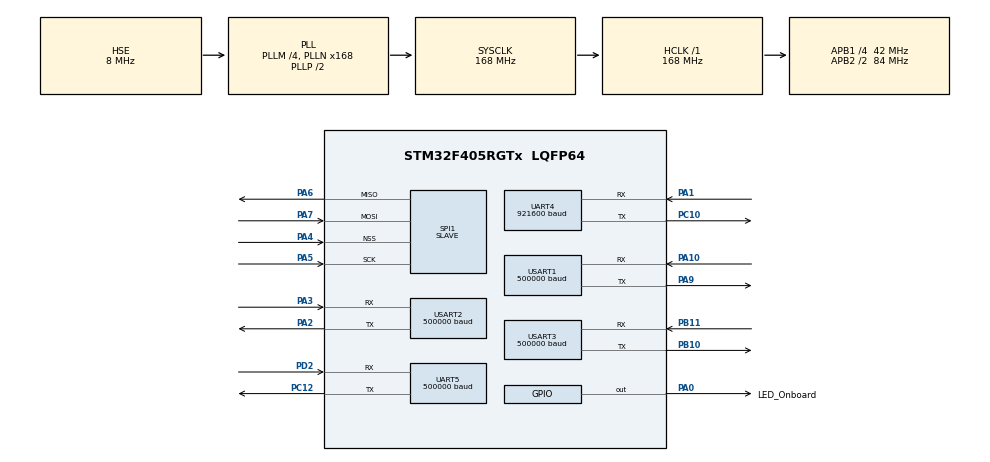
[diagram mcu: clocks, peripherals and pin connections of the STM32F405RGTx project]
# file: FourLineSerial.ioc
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Dma.Request0=USART1_RX
Dma.Request1=USART2_RX
Dma.Request10=UART5_RX
Dma.Request11=UART5_TX
Dma.Request2=USART3_RX
Dma.Request3=USART1_TX
Dma.Request4=USART2_TX
Dma.Request5=USART3_TX
Dma.Request6=SPI1_RX
Dma.Request7=SPI1_TX
Dma.Request8=UART4_RX
Dma.Request9=UART4_TX
Dma.SPI1_RX.6.Direction=DMA_PERIPH_TO_MEMORY
Dma.SPI1_RX.6.FIFOMode=DMA_FIFOMODE_DISABLE
Dma.SPI1_RX.6.Instance=DMA2_Stream0
Dma.SPI1_RX.6.MemDataAlignment=DMA_MDATAALIGN_BYTE
Dma.SPI1_RX.6.MemInc=DMA_MINC_ENABLE
Dma.SPI1_RX.6.Mode=DMA_CIRCULAR
Dma.SPI1_RX.6.PeriphDataAlignment=DMA_PDATAALIGN_BYTE
Dma.SPI1_RX.6.PeriphInc=DMA_PINC_DISABLE
Dma.SPI1_RX.6.Priority=DMA_PRIORITY_LOW
Dma.SPI1_TX.7.Direction=DMA_MEMORY_TO_PERIPH
Dma.SPI1_TX.7.FIFOMode=DMA_FIFOMODE_DISABLE
Dma.SPI1_TX.7.Instance=DMA2_Stream3
Dma.SPI1_TX.7.MemDataAlignment=DMA_MDATAALIGN_BYTE
Dma.SPI1_TX.7.MemInc=DMA_MINC_ENABLE
Dma.SPI1_TX.7.Mode=DMA_CIRCULAR
Dma.SPI1_TX.7.PeriphDataAlignment=DMA_PDATAALIGN_BYTE
Dma.SPI1_TX.7.PeriphInc=DMA_PINC_DISABLE
Dma.SPI1_TX.7.Priority=DMA_PRIORITY_LOW
Dma.UART4_RX.8.Direction=DMA_PERIPH_TO_MEMORY
Dma.UART4_RX.8.FIFOMode=DMA_FIFOMODE_DISABLE
Dma.UART4_RX.8.Instance=DMA1_Stream2
Dma.UART4_RX.8.MemDataAlignment=DMA_MDATAALIGN_BYTE
Dma.UART4_RX.8.MemInc=DMA_MINC_ENABLE
Dma.UART4_RX.8.Mode=DMA_NORMAL
Dma.UART4_RX.8.PeriphDataAlignment=DMA_PDATAALIGN_BYTE
Dma.UART4_RX.8.PeriphInc=DMA_PINC_DISABLE
Dma.UART4_RX.8.Priority=DMA_PRIORITY_LOW
Dma.UART4_TX.9.Direction=DMA_MEMORY_TO_PERIPH
Dma.UART4_TX.9.FIFOMode=DMA_FIFOMODE_DISABLE
Dma.UART4_TX.9.Instance=DMA1_Stream4
Dma.UART4_TX.9.MemDataAlignment=DMA_MDATAALIGN_BYTE
Dma.UART4_TX.9.MemInc=DMA_MINC_ENABLE
Dma.UART4_TX.9.Mode=DMA_NORMAL
Dma.UART4_TX.9.PeriphDataAlignment=DMA_PDATAALIGN_BYTE
Dma.UART4_TX.9.PeriphInc=DMA_PINC_DISABLE
Dma.UART4_TX.9.Priority=DMA_PRIORITY_LOW
Dma.UART5_RX.10.Direction=DMA_PERIPH_TO_MEMORY
Dma.UART5_RX.10.FIFOMode=DMA_FIFOMODE_DISABLE
Dma.UART5_RX.10.Instance=DMA1_Stream0
Dma.UART5_RX.10.MemDataAlignment=DMA_MDATAALIGN_BYTE
Dma.UART5_RX.10.MemInc=DMA_MINC_ENABLE
Dma.UART5_RX.10.Mode=DMA_CIRCULAR
Dma.UART5_RX.10.PeriphDataAlignment=DMA_PDATAALIGN_BYTE
Dma.UART5_RX.10.PeriphInc=DMA_PINC_DISABLE
Dma.UART5_RX.10.Priority=DMA_PRIORITY_LOW
Dma.UART5_TX.11.Direction=DMA_MEMORY_TO_PERIPH
Dma.UART5_TX.11.FIFOMode=DMA_FIFOMODE_DISABLE
Dma.UART5_TX.11.Instance=DMA1_Stream7
Dma.UART5_TX.11.MemDataAlignment=DMA_MDATAALIGN_BYTE
Dma.UART5_TX.11.MemInc=DMA_MINC_ENABLE
Dma.UART5_TX.11.Mode=DMA_NORMAL
Dma.UART5_TX.11.PeriphDataAlignment=DMA_PDATAALIGN_BYTE
Dma.UART5_TX.11.PeriphInc=DMA_PINC_DISABLE
Dma.UART5_TX.11.Priority=DMA_PRIORITY_LOW
Dma.USART1_RX.0.Direction=DMA_PERIPH_TO_MEMORY
Dma.USART1_RX.0.FIFOMode=DMA_FIFOMODE_DISABLE
Dma.USART1_RX.0.Instance=DMA2_Stream5
Dma.USART1_RX.0.MemDataAlignment=DMA_MDATAALIGN_BYTE
Dma.USART1_RX.0.MemInc=DMA_MINC_ENABLE
Dma.USART1_RX.0.Mode=DMA_CIRCULAR
Dma.USART1_RX.0.PeriphDataAlignment=DMA_PDATAALIGN_BYTE
Dma.USART1_RX.0.PeriphInc=DMA_PINC_DISABLE
Dma.USART1_RX.0.Priority=DMA_PRIORITY_LOW
Dma.USART1_TX.3.Direction=DMA_MEMORY_TO_PERIPH
Dma.USART1_TX.3.FIFOMode=DMA_FIFOMODE_DISABLE
Dma.USART1_TX.3.Instance=DMA2_Stream7
Dma.USART1_TX.3.MemDataAlignment=DMA_MDATAALIGN_BYTE
Dma.USART1_TX.3.MemInc=DMA_MINC_ENABLE
Dma.USART1_TX.3.Mode=DMA_NORMAL
Dma.USART1_TX.3.PeriphDataAlignment=DMA_PDATAALIGN_BYTE
Dma.USART1_TX.3.PeriphInc=DMA_PINC_DISABLE
Dma.USART1_TX.3.Priority=DMA_PRIORITY_LOW
Dma.USART2_RX.1.Direction=DMA_PERIPH_TO_MEMORY
Dma.USART2_RX.1.FIFOMode=DMA_FIFOMODE_DISABLE
Dma.USART2_RX.1.Instance=DMA1_Stream5
Dma.USART2_RX.1.MemDataAlignment=DMA_MDATAALIGN_BYTE
Dma.USART2_RX.1.MemInc=DMA_MINC_ENABLE
Dma.USART2_RX.1.Mode=DMA_CIRCULAR
Dma.USART2_RX.1.PeriphDataAlignment=DMA_PDATAALIGN_BYTE
Dma.USART2_RX.1.PeriphInc=DMA_PINC_DISABLE
Dma.USART2_RX.1.Priority=DMA_PRIORITY_LOW
Dma.USART2_TX.4.Direction=DMA_MEMORY_TO_PERIPH
Dma.USART2_TX.4.FIFOMode=DMA_FIFOMODE_DISABLE
Dma.USART2_TX.4.Instance=DMA1_Stream6
Dma.USART2_TX.4.MemDataAlignment=DMA_MDATAALIGN_BYTE
Dma.USART2_TX.4.MemInc=DMA_MINC_ENABLE
Dma.USART2_TX.4.Mode=DMA_NORMAL
Dma.USART2_TX.4.PeriphDataAlignment=DMA_PDATAALIGN_BYTE
Dma.USART2_TX.4.PeriphInc=DMA_PINC_DISABLE
Dma.USART2_TX.4.Priority=DMA_PRIORITY_LOW
Dma.USART3_RX.2.Direction=DMA_PERIPH_TO_MEMORY
Dma.USART3_RX.2.FIFOMode=DMA_FIFOMODE_DISABLE
Dma.USART3_RX.2.Instance=DMA1_Stream1
Dma.USART3_RX.2.MemDataAlignment=DMA_MDATAALIGN_BYTE
Dma.USART3_RX.2.MemInc=DMA_MINC_ENABLE
Dma.USART3_RX.2.Mode=DMA_CIRCULAR
Dma.USART3_RX.2.PeriphDataAlignment=DMA_PDATAALIGN_BYTE
Dma.USART3_RX.2.PeriphInc=DMA_PINC_DISABLE
Dma.USART3_RX.2.Priority=DMA_PRIORITY_LOW
Dma.USART3_TX.5.Direction=DMA_MEMORY_TO_PERIPH
Dma.USART3_TX.5.FIFOMode=DMA_FIFOMODE_DISABLE
Dma.USART3_TX.5.Instance=DMA1_Stream3
Dma.USART3_TX.5.MemDataAlignment=DMA_MDATAALIGN_BYTE
Dma.USART3_TX.5.MemInc=DMA_MINC_ENABLE
Dma.USART3_TX.5.Mode=DMA_NORMAL
Dma.USART3_TX.5.PeriphDataAlignment=DMA_PDATAALIGN_BYTE
Dma.USART3_TX.5.PeriphInc=DMA_PINC_DISABLE
Dma.USART3_TX.5.Priority=DMA_PRIORITY_LOW
Mcu.Family=STM32F4
Mcu.Name=STM32F405RGTx
Mcu.Package=LQFP64
NVIC.DMA1_Stream0_IRQn=true\:0\:0\:false\:false\:true\:false\:true
NVIC.DMA1_Stream1_IRQn=true\:0\:0\:false\:false\:true\:false\:true
NVIC.DMA1_Stream2_IRQn=true\:0\:0\:false\:false\:true\:false\:true
NVIC.DMA1_Stream3_IRQn=true\:0\:0\:false\:false\:true\:false\:true
NVIC.DMA1_Stream4_IRQn=true\:0\:0\:false\:false\:true\:false\:true
NVIC.DMA1_Stream5_IRQn=true\:0\:0\:false\:false\:true\:false\:true
NVIC.DMA1_Stream6_IRQn=true\:0\:0\:false\:false\:true\:false\:true
NVIC.DMA1_Stream7_IRQn=true\:0\:0\:false\:false\:true\:false\:true
NVIC.DMA2_Stream0_IRQn=true\:0\:0\:false\:false\:true\:false\:true
NVIC.DMA2_Stream3_IRQn=true\:0\:0\:false\:false\:true\:false\:true
NVIC.DMA2_Stream5_IRQn=true\:0\:0\:false\:false\:true\:false\:true
NVIC.DMA2_Stream7_IRQn=true\:0\:0\:false\:false\:true\:false\:true
NVIC.PriorityGroup=NVIC_PRIORITYGROUP_4
NVIC.SPI1_IRQn=true\:0\:0\:false\:false\:true\:true\:true
NVIC.UART4_IRQn=true\:0\:0\:false\:false\:true\:true\:true
NVIC.UART5_IRQn=true\:0\:0\:false\:false\:true\:true\:true
NVIC.USART1_IRQn=true\:0\:0\:false\:false\:true\:true\:true
NVIC.USART2_IRQn=true\:0\:0\:false\:false\:true\:true\:true
NVIC.USART3_IRQn=true\:0\:0\:false\:false\:true\:true\:true
PA0-WKUP.GPIO_Label=LED_Onboard
PA0-WKUP.GPIO_PuPd=GPIO_PULLDOWN
PA0-WKUP.Signal=GPIO_Output
PA1.Mode=Asynchronous
PA1.Signal=UART4_RX
PA10.Mode=Asynchronous
PA10.Signal=USART1_RX
PA13.Mode=Serial_Wire
PA13.Signal=SYS_JTMS-SWDIO
PA14.Mode=Serial_Wire
PA14.Signal=SYS_JTCK-SWCLK
PA2.Mode=Asynchronous
PA2.Signal=USART2_TX
PA3.Mode=Asynchronous
PA3.Signal=USART2_RX
PA4.Mode=NSS_Signal_Hard_Input
PA4.Signal=SPI1_NSS
PA5.Mode=Full_Duplex_Slave
PA5.Signal=SPI1_SCK
PA6.Mode=Full_Duplex_Slave
PA6.Signal=SPI1_MISO
PA7.Mode=Full_Duplex_Slave
PA7.Signal=SPI1_MOSI
PA9.Mode=Asynchronous
PA9.Signal=USART1_TX
PB10.Mode=Asynchronous
PB10.Signal=USART3_TX
PB11.Mode=Asynchronous
PB11.Signal=USART3_RX
PC10.Mode=Asynchronous
PC10.Signal=UART4_TX
PC12.Mode=Asynchronous
PC12.Signal=UART5_TX
PC14-OSC32_IN.Mode=LSE-External-Oscillator
PC14-OSC32_IN.Signal=RCC_OSC32_IN
PC15-OSC32_OUT.Mode=LSE-External-Oscillator
PC15-OSC32_OUT.Signal=RCC_OSC32_OUT
PD2.Mode=Asynchronous
PD2.Signal=UART5_RX
PH0-OSC_IN.Mode=HSE-External-Oscillator
PH0-OSC_IN.Signal=RCC_OSC_IN
PH1-OSC_OUT.Mode=HSE-External-Oscillator
PH1-OSC_OUT.Signal=RCC_OSC_OUT
ProjectManager.HeapSize=0x200
ProjectManager.StackSize=0x400
ProjectManager.TargetToolchain=STM32CubeIDE
RCC.48MHZClocksFreq_Value=84000000
RCC.AHBFreq_Value=168000000
RCC.APB1CLKDivider=RCC_HCLK_DIV4
RCC.APB1Freq_Value=42000000
RCC.APB1TimFreq_Value=84000000
RCC.APB2CLKDivider=RCC_HCLK_DIV2
RCC.APB2Freq_Value=84000000
RCC.APB2TimFreq_Value=168000000
RCC.CortexFreq_Value=168000000
RCC.HCLKFreq_Value=168000000
RCC.HSE_VALUE=8000000
RCC.HSI_VALUE=16000000
RCC.PLLM=4
RCC.PLLN=168
RCC.PLLSourceVirtual=RCC_PLLSOURCE_HSE
RCC.SYSCLKFreq_VALUE=168000000
RCC.SYSCLKSource=RCC_SYSCLKSOURCE_PLLCLK
RCC.VCOOutputFreq_Value=336000000
SPI1.CLKPhase=SPI_PHASE_1EDGE
SPI1.CLKPolarity=SPI_POLARITY_LOW
SPI1.DataSize=SPI_DATASIZE_8BIT
SPI1.Direction=SPI_DIRECTION_2LINES
SPI1.Mode=SPI_MODE_SLAVE
SPI1.TIMode=SPI_TIMODE_DISABLE
SPI1.VirtualNSS=VM_NSSHARD
SPI1.VirtualType=VM_SLAVE
UART4.BaudRate=921600
UART4.OverSampling=UART_OVERSAMPLING_16
UART4.VirtualMode=Asynchronous
UART5.BaudRate=500000
UART5.VirtualMode=Asynchronous
USART1.BaudRate=500000
USART1.OverSampling=UART_OVERSAMPLING_16
USART1.VirtualMode=VM_ASYNC
USART2.BaudRate=500000
USART2.OverSampling=UART_OVERSAMPLING_16
USART2.VirtualMode=VM_ASYNC
USART3.BaudRate=500000
USART3.OverSampling=UART_OVERSAMPLING_16
USART3.VirtualMode=VM_ASYNC
board=custom

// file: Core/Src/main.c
/* USER CODE BEGIN Header */
/**
  ******************************************************************************
  * @file           : main.c
  * @brief          : Main program body
  ******************************************************************************
  * @attention
  *
  * <h2><center>&copy; Copyright (c) 2021 STMicroelectronics.
  * All rights reserved.</center></h2>
  *
  * This software component is licensed by ST under BSD 3-Clause license,
  * the "License"; You may not use this file except in compliance with the
  * License. You may obtain a copy of the License at:
  *                        opensource.org/licenses/BSD-3-Clause
  *
  ******************************************************************************
  */
/* USER CODE END Header */
#include "main.h"

/* USER CODE BEGIN Includes */
#include <stdint.h>
#include "Servo_Interpreter.h"
#include "raspi_Interpreter.h"
#include "JY901_Interpreter.h"
#include "CH100_Interpreter.h"
/* USER CODE END Includes */

SPI_HandleTypeDef hspi1;
DMA_HandleTypeDef hdma_spi1_rx;
DMA_HandleTypeDef hdma_spi1_tx;

UART_HandleTypeDef huart4;
UART_HandleTypeDef huart5;
UART_HandleTypeDef huart1;
UART_HandleTypeDef huart2;
UART_HandleTypeDef huart3;
DMA_HandleTypeDef hdma_uart4_rx;
DMA_HandleTypeDef hdma_uart4_tx;
DMA_HandleTypeDef hdma_uart5_rx;
DMA_HandleTypeDef hdma_uart5_tx;
DMA_HandleTypeDef hdma_usart1_rx;
DMA_HandleTypeDef hdma_usart1_tx;
DMA_HandleTypeDef hdma_usart2_rx;
DMA_HandleTypeDef hdma_usart2_tx;
DMA_HandleTypeDef hdma_usart3_rx;
DMA_HandleTypeDef hdma_usart3_tx;

/* USER CODE BEGIN PV */
HAL_StatusTypeDef readRecFlag[4];
HAL_StatusTypeDef readSendFlag[4];
HAL_StatusTypeDef setSendFlag[12];
HAL_StatusTypeDef spiRTFlag;
/* USER CODE END PV */

void SystemClock_Config(void);
static void MX_GPIO_Init(void);
static void MX_DMA_Init(void);
static void MX_USART1_UART_Init(void);
static void MX_USART2_UART_Init(void);
static void MX_USART3_UART_Init(void);
static void MX_SPI1_Init(void);
static void MX_UART4_Init(void);
static void MX_UART5_Init(void);

/* USER CODE BEGIN 0 */
int16_t servoAngleRead[12]; // servo angle read value, note that, according to the com manual, this value should be the real value times 10.
int16_t servoAngleSet[12]; // servo angle set value, note that, according to the com manual, this value should be the real value times 10.
uint8_t lineIdx;
uint8_t lineFlag[4];
uint8_t servoIDarray[12];
uint8_t spiRecData[60], spiSendData[60];
uint8_t spiRecData_CH100[79],spiSendData_CH100[79]; // 79 is used
volatile uint8_t getRaspiCMD=0;
uint8_t raspiReadFlag, raspiSetFlag;
volatile int ledCount=0;

uint8_t servoAngleAskCmdL1[6],servoAngleAskCmdL2[6],servoAngleAskCmdL3[6],servoAngleAskCmdL4[6];
//uint8_t servoAngleAskCmdL1[12],servoAngleAskCmdL2[12],servoAngleAskCmdL3[12],servoAngleAskCmdL4[12];
uint8_t servoAngleRecCmdL1[8],servoAngleRecCmdL2[8],servoAngleRecCmdL3[8],servoAngleRecCmdL4[8];
uint8_t servoAngleSetCmdL1[12],servoAngleSetCmdL2[12],servoAngleSetCmdL3[12],servoAngleSetCmdL4[12];
uint8_t servoNum;
uint8_t imuRecData[33];
uint8_t imuRecDataBuf2x[66];
uint8_t imuRecData_CH100[164];
uint8_t imuAskData[5];
uint8_t accData[6], omegaData[6],rpyData[6];
uint8_t accData_CH100[12],omegaData_CH100[12],quatData_CH100[16];
uint8_t IMU_data[18], IMU_CH100_data[40];

volatile uint8_t TIMCountFlag=0;
volatile uint8_t uartTxFlag[5]; // send complete flag for 4 uart lines for servos, and 1 uart line for imu
volatile uint8_t uartRxFlag[5];
volatile int raspiRecErr=0;
volatile int setFinish=0;
volatile int readFinish=0;

volatile int LEDcountV2=0;

void HAL_UART_TxCpltCallback(UART_HandleTypeDef *huart)
{
	if (huart->Instance==USART1)
		uartTxFlag[0]=1;
	else if (huart->Instance==USART2)
		uartTxFlag[1]=1;
	else if (huart->Instance==USART3)
		uartTxFlag[2]=1;
	else if (huart->Instance==UART5)
		uartTxFlag[3]=1;
	else if (huart->Instance==UART4)
		uartTxFlag[4]=1;

}

void HAL_UART_RxCpltCallback(UART_HandleTypeDef *huart)
{
	if (huart->Instance==USART1)
		uartRxFlag[0]=1;
	if (huart->Instance==USART2)
		uartRxFlag[1]=1;
	if (huart->Instance==USART3)
		uartRxFlag[2]=1;
	if (huart->Instance==UART5)
		uartRxFlag[3]=1;
	if (huart->Instance==UART4)
	{
		HAL_UART_Receive_DMA(&huart4, imuRecData,33);
		uartRxFlag[4]=1;
		//JY901_FBdecoder(imuRecData, accData, omegaData, rpyData, IMU_data);
		JY901_FBdecoderBuf2x(imuRecData,imuRecDataBuf2x,accData, omegaData, rpyData, IMU_data);
	} // for JY901
	/*{//HAL_UART_Receive_DMA(&huart4, imuRecData_CH100,164);
	uartRxFlag[4]=1;
	CH100_FBdecoder(imuRecData_CH100, accData_CH100, omegaData_CH100, quatData_CH100, IMU_CH100_data);} // for CH100*/
}

void HAL_UART_ErrorCallback(UART_HandleTypeDef *huart)
{
    if(huart->ErrorCode != HAL_UART_ERROR_NONE)
    {
        //ERR_TRACE0("baseaddr = 0x%x, error code = 0x%x", huart->Instance, huart->ErrorCode);

        __HAL_UART_CLEAR_NEFLAG(huart);

        //__HAL_UART_CLEAR_OREFLAG(huart);

        huart->RxState = HAL_UART_STATE_READY;

	if (huart->Instance==USART1)
		uartRxFlag[0]=1;
	if (huart->Instance==USART2)
		uartRxFlag[1]=1;
	if (huart->Instance==USART3)
		uartRxFlag[2]=1;
	if (huart->Instance==UART5)
		uartRxFlag[3]=1;
	if (huart->Instance==UART4)
		uartRxFlag[4]=1;
    }
}

void HAL_SPI_ErrorCallback(SPI_HandleTypeDef *hspi)
{
	__HAL_SPI_CLEAR_OVRFLAG(hspi);
}

void HAL_SPI_TxRxCpltCallback(SPI_HandleTypeDef *hspi)
{
	getRaspiCMD=1;
	LEDcountV2++;
	if (LEDcountV2>10)
		{HAL_GPIO_TogglePin(LED_Onboard_GPIO_Port, LED_Onboard_Pin);LEDcountV2=0;}
}
/* USER CODE END 0 */

int main(void)
{
  /* USER CODE BEGIN 1 */
  int ii=0;

  //uint8_t imu_unlock[5];
  //imu_unlock[0]=0xff;imu_unlock[1]=0xaa;imu_unlock[2]=0x69;imu_unlock[3]=0x88;imu_unlock[4]=0xb5;

  for (ii=0;ii<60;ii++)
  	spiSendData[ii]=0;
  uartTxFlag[0]=1;uartTxFlag[1]=1;uartTxFlag[2]=1;uartTxFlag[3]=1;uartTxFlag[4]=1;
  uartRxFlag[0]=1;uartRxFlag[1]=1;uartRxFlag[2]=1;uartRxFlag[3]=1;uartRxFlag[4]=1;
  /* USER CODE END 1 */

  /* MCU Configuration--------------------------------------------------------*/

  /* Reset of all peripherals, Initializes the Flash interface and the Systick. */
  HAL_Init();

  /* Configure the system clock */
  SystemClock_Config();

  /* Initialize all configured peripherals */
  MX_GPIO_Init();
  MX_DMA_Init();
  MX_USART1_UART_Init();
  MX_USART2_UART_Init();
  MX_USART3_UART_Init();
  MX_SPI1_Init();
  MX_UART4_Init();
  MX_UART5_Init();
  /* USER CODE BEGIN 2 */
  HAL_GPIO_WritePin(LED_Onboard_GPIO_Port, LED_Onboard_Pin,GPIO_PIN_SET);
  //HAL_GPIO_WritePin(WorkState_GPIO_Port, WorkState_Pin,GPIO_PIN_RESET);
  HAL_SPI_TransmitReceive_DMA(&hspi1, spiSendData, spiRecData, 60);

  HAL_UART_Receive_DMA(&huart1, servoAngleRecCmdL1, 8);
  HAL_UART_Receive_DMA(&huart2, servoAngleRecCmdL2, 8);
  HAL_UART_Receive_DMA(&huart3, servoAngleRecCmdL3, 8);
  HAL_UART_Receive_DMA(&huart5, servoAngleRecCmdL4, 8);

  // IMU initialization for JY901
  /*uartRxFlag[4]=0;
  HAL_UART_Transmit(&huart4, imu_unlock,5,1000);
  HAL_Delay(100);
  HAL_UART_Receive_DMA(&huart4, imuRecData,33);
  JY901_genAskCmd(imuAskData,200); // for single time output, to clear the uart
  HAL_UART_Transmit(&huart4, imuAskData,5,1000);
  HAL_Delay(100);
  while(uartRxFlag[4]==0);

  uartRxFlag[4]=0;
  HAL_UART_Receive_DMA(&huart4, imuRecData,33);
  HAL_UART_Transmit(&huart4, imu_unlock,5,1000);
  JY901_genAskCmd(imuAskData,200); // for 200 Hz continuous output
  HAL_UART_Transmit(&huart4, imuAskData,5,1000);
  HAL_Delay(100);
  while(uartRxFlag[4]==0);*/

  HAL_UART_Receive_DMA(&huart4, imuRecData,33);

  //IMU initialization for CH100
 /* uartRxFlag[4]=0;
  uint8_t startTrans[11]="AT+EOUT=1\r\n";
  uint8_t endTrans[11]="AT+EOUT=0\r\n";
  HAL_UART_Transmit(&huart4, endTrans,11,1000);
  HAL_Delay(20);
  HAL_UART_Receive_DMA(&huart4, imuRecData_CH100,164);
  HAL_UART_Transmit(&huart4, startTrans,11,1000);
  HAL_Delay(20);
  HAL_UART_Receive_DMA(&huart4, imuRecData_CH100,164);*/
  /* USER CODE END 2 */

  /* Infinite loop */
  /* USER CODE BEGIN WHILE */
  while (1)
  {
	  /*spiRTFlag=HAL_SPI_TransmitReceive(&hspi1, spiSendData, spiRecData, 60,1000);
	  if (spiRTFlag==HAL_OK)
		  getRaspiCMD=1;
	  else
		  {getRaspiCMD=0;HAL_Delay(1);}*/

	  if (getRaspiCMD==1)
	  {
		  /*uartRxFlag[4]=0;
		  HAL_UART_Receive_DMA(&huart4, imuRecData,33);
		  JY901_genAskCmd(imuAskData,1);
		  HAL_UART_Transmit(&huart4, imuAskData,5,1000);*/
		  //HAL_GPIO_WritePin(WorkState_GPIO_Port, WorkState_Pin,GPIO_PIN_RESET);
		  setFinish=0;
		  readFinish=0;
		  volatile int i;
		  double angleres;
		  //raspiRecErr=raspiCMDdecoder_CH100(spiRecData_CH100, &raspiReadFlag, &raspiSetFlag, servoIDarray, &servoNum,servoAngleSet,&lineIdx);
		  raspiRecErr=raspiCMDdecoder(spiRecData, &raspiReadFlag, &raspiSetFlag, servoIDarray, &servoNum,servoAngleSet,&lineIdx);
		  lineFlag[0]=0;lineFlag[1]=0;lineFlag[2]=0;lineFlag[3]=0;
		  if (lineIdx==1)
				  lineFlag[0]=1;
		  else if (lineIdx==2)
				  lineFlag[1]=1;
		  else if (lineIdx==3)
				  lineFlag[2]=1;
		  else if (lineIdx==4)
				  lineFlag[3]=1;
		  else if (lineIdx==5)
				  {lineFlag[0]=1;lineFlag[1]=1;lineFlag[2]=1;lineFlag[3]=1;}
		  //{lineFlag[1]=1;lineFlag[2]=1;}
		  if (raspiSetFlag==1)
		  {

		  	  for (i=0;i<servoNum;i++)
		  	  {
		  		  //genSetAngleCmd(servoIDarray[i], servoAngleSet[i], 0, 0, servoAngleSetCmd);
		    	  //uartTxFlag[0]=0;
		  		  //setSendFlag[i]=HAL_UART_Transmit_IT(&huart1, servoAngleSetCmd, 12);
		  		  //while(uartTxFlag[0]==0);
 				  if (lineFlag[0]==1)
 				  {
 					  //while(uartTxFlag[0]==0){};
 					  genSetAngleCmd(servoIDarray[i], servoAngleSet[i], 0, 0, servoAngleSetCmdL1);uartTxFlag[0]=0;
 					  HAL_UART_Transmit_DMA(&huart1, servoAngleSetCmdL1,12);
 					  //while(uartTxFlag[0]==0);
 				  }
 				  else
 					  uartTxFlag[0]=1;

 				  if (lineFlag[1]==1)
 				  {
 					 //while(uartTxFlag[1]==0){};
 					  genSetAngleCmd(servoIDarray[i+3], servoAngleSet[i+3], 0, 0, servoAngleSetCmdL2);uartTxFlag[1]=0;
 				      HAL_UART_Transmit_DMA(&huart2, servoAngleSetCmdL2,12);
 				      //while(uartTxFlag[1]==0);
 				  }
 				  else
 					  uartTxFlag[1]=1;

 				  if (lineFlag[2]==1)
 				  {
 					 //while(uartTxFlag[2]==0){};
 				      genSetAngleCmd(servoIDarray[i+6], servoAngleSet[i+6], 0, 0, servoAngleSetCmdL3);uartTxFlag[2]=0;
 				  	  HAL_UART_Transmit_DMA(&huart3, servoAngleSetCmdL3,12);
 				  	  //while(uartTxFlag[2]==0);
 				  }
 				  else
 					  uartTxFlag[2]=1;

 				  if (lineFlag[3]==1)
				  {
 					// while(uartTxFlag[3]==0){};
 				  	  genSetAngleCmd(servoIDarray[i+9], servoAngleSet[i+9], 0, 0, servoAngleSetCmdL4); uartTxFlag[3]=0;
 				  	  HAL_UART_Transmit_DMA(&huart5, servoAngleSetCmdL4,12);
 				  	  //while(uartTxFlag[3]==0);
 				  }
 				  else
 					  uartTxFlag[3]=1;

 				  while(uartTxFlag[0]+uartTxFlag[1]+uartTxFlag[2]+uartTxFlag[3]<4);

 	 			  }
 		  }
		  setFinish=1;
		  if (raspiReadFlag==1)
		  {

			  for (i=0;i<servoNum;i++)
			  {
				  if (lineFlag[0]==1)
				    {uartRxFlag[0]=0;
				    //HAL_UART_Receive_DMA(&huart1, servoAngleRecCmdL1, 8);
				    genAngleAskCmd(servoIDarray[i],servoAngleAskCmdL1);
				    //while(uartTxFlag[0]==0);
				    }
				  else
				  	uartRxFlag[0]=1;
				  if (lineFlag[1]==1)
				    {uartRxFlag[1]=0;
				    //HAL_UART_Receive_DMA(&huart2, servoAngleRecCmdL2, 8);
				    genAngleAskCmd(servoIDarray[i+3],servoAngleAskCmdL2);
				    //while(uartTxFlag[1]==0);
				    }
				  else
				    uartRxFlag[1]=1;
				  if (lineFlag[2]==1)
				    {uartRxFlag[2]=0;
				    //HAL_UART_Receive_DMA(&huart3, servoAngleRecCmdL3, 8);
				    genAngleAskCmd(servoIDarray[i+6],servoAngleAskCmdL3);

				    //while(uartTxFlag[2]==0);
				    }
				  else
				    uartRxFlag[2]=1;
				  if (lineFlag[3]==1)
				    {uartRxFlag[3]=0;
				    //HAL_UART_Receive_DMA(&huart5, servoAngleRecCmdL4, 8);
				    genAngleAskCmd(servoIDarray[i+9],servoAngleAskCmdL4);

				    //while(uartTxFlag[3]==0);
				    }
				  else
				    uartRxFlag[3]=1;

				  if(lineFlag[0]==1) {HAL_UART_Transmit_DMA(&huart1, servoAngleAskCmdL1, 6);}
				  if(lineFlag[1]==1) {HAL_UART_Transmit_DMA(&huart2, servoAngleAskCmdL2, 6);}
				  if(lineFlag[2]==1) {HAL_UART_Transmit_DMA(&huart3, servoAngleAskCmdL3, 6);}
				  if(lineFlag[3]==1) {HAL_UART_Transmit_DMA(&huart5, servoAngleAskCmdL4, 6);}

				  //while(uartRxFlag[0]==0);
				  //while(uartRxFlag[1]==0);
				  //while(uartRxFlag[2]==0);
				  //while(uartRxFlag[3]==0);
				  while(uartRxFlag[0]+uartRxFlag[1]+uartRxFlag[2]+uartRxFlag[3]<4);

				  if (lineFlag[0]==1)
				  {
					  //while(uartRxFlag[0]==0){};
					  angleres=recAngleCmdDecode(servoIDarray[i], servoAngleRecCmdL1, servoAngleRead[i]/10.0);
					  servoAngleRead[i]=angleres*10.0;
				  }
				  if (lineFlag[1]==1)
				  {
					  //while(uartRxFlag[1]==0){};
					  angleres=recAngleCmdDecode(servoIDarray[i+3], servoAngleRecCmdL2, servoAngleRead[i+3]/10.0);
					  servoAngleRead[i+3]=angleres*10.0;
				  }
				  if (lineFlag[2]==1)
				  {
					  //while(uartRxFlag[2]==0){};
					  angleres=recAngleCmdDecode(servoIDarray[i+6], servoAngleRecCmdL3, servoAngleRead[i+6]/10.0);
					  servoAngleRead[i+6]=angleres*10.0;
				  }
				  if (lineFlag[3]==1)
				  {
					  //while(uartRxFlag[3]==0){};
					  angleres=recAngleCmdDecode(servoIDarray[i+9], servoAngleRecCmdL4, servoAngleRead[i+9]/10.0);
					  servoAngleRead[i+9]=angleres*10.0;
				  }
			  }
		  }
		  readFinish=1;

		  //genAngleBackCmd_CH100(servoIDarray, servoNum,servoAngleRead, spiSendData_CH100, IMU_CH100_data);
		  genAngleBackCmd(servoIDarray, servoNum,servoAngleRead, spiSendData, IMU_data);
		  getRaspiCMD=0;
		  //HAL_SPI_TransmitReceive_DMA(&hspi1, spiSendData_CH100, spiRecData_CH100, 79);

	  }
    /* USER CODE END WHILE */

  }
}

void SystemClock_Config(void)
{
  RCC_OscInitTypeDef RCC_OscInitStruct = {0};
  RCC_ClkInitTypeDef RCC_ClkInitStruct = {0};

  /** Configure the main internal regulator output voltage
  */
  __HAL_RCC_PWR_CLK_ENABLE();
  __HAL_PWR_VOLTAGESCALING_CONFIG(PWR_REGULATOR_VOLTAGE_SCALE1);
  /** Initializes the RCC Oscillators according to the specified parameters
  * in the RCC_OscInitTypeDef structure.
  */
  RCC_OscInitStruct.OscillatorType = RCC_OSCILLATORTYPE_HSE;
  RCC_OscInitStruct.HSEState = RCC_HSE_ON;
  RCC_OscInitStruct.PLL.PLLState = RCC_PLL_ON;
  RCC_OscInitStruct.PLL.PLLSource = RCC_PLLSOURCE_HSE;
  RCC_OscInitStruct.PLL.PLLM = 4;
  RCC_OscInitStruct.PLL.PLLN = 168;
  RCC_OscInitStruct.PLL.PLLP = RCC_PLLP_DIV2;
  RCC_OscInitStruct.PLL.PLLQ = 4;
  if (HAL_RCC_OscConfig(&RCC_OscInitStruct) != HAL_OK)
  {
    Error_Handler();
  }
  /** Initializes the CPU, AHB and APB buses clocks
  */
  RCC_ClkInitStruct.ClockType = RCC_CLOCKTYPE_HCLK|RCC_CLOCKTYPE_SYSCLK
                              |RCC_CLOCKTYPE_PCLK1|RCC_CLOCKTYPE_PCLK2;
  RCC_ClkInitStruct.SYSCLKSource = RCC_SYSCLKSOURCE_PLLCLK;
  RCC_ClkInitStruct.AHBCLKDivider = RCC_SYSCLK_DIV1;
  RCC_ClkInitStruct.APB1CLKDivider = RCC_HCLK_DIV4;
  RCC_ClkInitStruct.APB2CLKDivider = RCC_HCLK_DIV2;

  if (HAL_RCC_ClockConfig(&RCC_ClkInitStruct, FLASH_LATENCY_5) != HAL_OK)
  {
    Error_Handler();
  }
}

static void MX_SPI1_Init(void)
{

  /* SPI1 parameter configuration*/
  hspi1.Instance = SPI1;
  hspi1.Init.Mode = SPI_MODE_SLAVE;
  hspi1.Init.Direction = SPI_DIRECTION_2LINES;
  hspi1.Init.DataSize = SPI_DATASIZE_8BIT;
  hspi1.Init.CLKPolarity = SPI_POLARITY_LOW;
  hspi1.Init.CLKPhase = SPI_PHASE_1EDGE;
  hspi1.Init.NSS = SPI_NSS_HARD_INPUT;
  hspi1.Init.FirstBit = SPI_FIRSTBIT_MSB;
  hspi1.Init.TIMode = SPI_TIMODE_DISABLE;
  hspi1.Init.CRCCalculation = SPI_CRCCALCULATION_DISABLE;
  hspi1.Init.CRCPolynomial = 10;
  if (HAL_SPI_Init(&hspi1) != HAL_OK)
  {
    Error_Handler();
  }

}

static void MX_UART4_Init(void)
{

  huart4.Instance = UART4;
  huart4.Init.BaudRate = 921600;
  huart4.Init.WordLength = UART_WORDLENGTH_8B;
  huart4.Init.StopBits = UART_STOPBITS_1;
  huart4.Init.Parity = UART_PARITY_NONE;
  huart4.Init.Mode = UART_MODE_TX_RX;
  huart4.Init.HwFlowCtl = UART_HWCONTROL_NONE;
  huart4.Init.OverSampling = UART_OVERSAMPLING_16;
  if (HAL_UART_Init(&huart4) != HAL_OK)
  {
    Error_Handler();
  }

}

static void MX_UART5_Init(void)
{

  huart5.Instance = UART5;
  huart5.Init.BaudRate = 500000;
  huart5.Init.WordLength = UART_WORDLENGTH_8B;
  huart5.Init.StopBits = UART_STOPBITS_1;
  huart5.Init.Parity = UART_PARITY_NONE;
  huart5.Init.Mode = UART_MODE_TX_RX;
  huart5.Init.HwFlowCtl = UART_HWCONTROL_NONE;
  huart5.Init.OverSampling = UART_OVERSAMPLING_16;
  if (HAL_UART_Init(&huart5) != HAL_OK)
  {
    Error_Handler();
  }

}

static void MX_USART1_UART_Init(void)
{

  huart1.Instance = USART1;
  huart1.Init.BaudRate = 500000;
  huart1.Init.WordLength = UART_WORDLENGTH_8B;
  huart1.Init.StopBits = UART_STOPBITS_1;
  huart1.Init.Parity = UART_PARITY_NONE;
  huart1.Init.Mode = UART_MODE_TX_RX;
  huart1.Init.HwFlowCtl = UART_HWCONTROL_NONE;
  huart1.Init.OverSampling = UART_OVERSAMPLING_16;
  if (HAL_UART_Init(&huart1) != HAL_OK)
  {
    Error_Handler();
  }

}

static void MX_USART2_UART_Init(void)
{

  huart2.Instance = USART2;
  huart2.Init.BaudRate = 500000;
  huart2.Init.WordLength = UART_WORDLENGTH_8B;
  huart2.Init.StopBits = UART_STOPBITS_1;
  huart2.Init.Parity = UART_PARITY_NONE;
  huart2.Init.Mode = UART_MODE_TX_RX;
  huart2.Init.HwFlowCtl = UART_HWCONTROL_NONE;
  huart2.Init.OverSampling = UART_OVERSAMPLING_16;
  if (HAL_UART_Init(&huart2) != HAL_OK)
  {
    Error_Handler();
  }

}

static void MX_USART3_UART_Init(void)
{

  huart3.Instance = USART3;
  huart3.Init.BaudRate = 500000;
  huart3.Init.WordLength = UART_WORDLENGTH_8B;
  huart3.Init.StopBits = UART_STOPBITS_1;
  huart3.Init.Parity = UART_PARITY_NONE;
  huart3.Init.Mode = UART_MODE_TX_RX;
  huart3.Init.HwFlowCtl = UART_HWCONTROL_NONE;
  huart3.Init.OverSampling = UART_OVERSAMPLING_16;
  if (HAL_UART_Init(&huart3) != HAL_OK)
  {
    Error_Handler();
  }

}

static void MX_DMA_Init(void)
{

  /* DMA controller clock enable */
  __HAL_RCC_DMA2_CLK_ENABLE();
  __HAL_RCC_DMA1_CLK_ENABLE();

  /* DMA interrupt init */
  /* DMA1_Stream0_IRQn interrupt configuration */
  HAL_NVIC_SetPriority(DMA1_Stream0_IRQn, 0, 0);
  HAL_NVIC_EnableIRQ(DMA1_Stream0_IRQn);
  /* DMA1_Stream1_IRQn interrupt configuration */
  HAL_NVIC_SetPriority(DMA1_Stream1_IRQn, 0, 0);
  HAL_NVIC_EnableIRQ(DMA1_Stream1_IRQn);
  /* DMA1_Stream2_IRQn interrupt configuration */
  HAL_NVIC_SetPriority(DMA1_Stream2_IRQn, 0, 0);
  HAL_NVIC_EnableIRQ(DMA1_Stream2_IRQn);
  /* DMA1_Stream3_IRQn interrupt configuration */
  HAL_NVIC_SetPriority(DMA1_Stream3_IRQn, 0, 0);
  HAL_NVIC_EnableIRQ(DMA1_Stream3_IRQn);
  /* DMA1_Stream4_IRQn interrupt configuration */
  HAL_NVIC_SetPriority(DMA1_Stream4_IRQn, 0, 0);
  HAL_NVIC_EnableIRQ(DMA1_Stream4_IRQn);
  /* DMA1_Stream5_IRQn interrupt configuration */
  HAL_NVIC_SetPriority(DMA1_Stream5_IRQn, 0, 0);
  HAL_NVIC_EnableIRQ(DMA1_Stream5_IRQn);
  /* DMA1_Stream6_IRQn interrupt configuration */
  HAL_NVIC_SetPriority(DMA1_Stream6_IRQn, 0, 0);
  HAL_NVIC_EnableIRQ(DMA1_Stream6_IRQn);
  /* DMA1_Stream7_IRQn interrupt configuration */
  HAL_NVIC_SetPriority(DMA1_Stream7_IRQn, 0, 0);
  HAL_NVIC_EnableIRQ(DMA1_Stream7_IRQn);
  /* DMA2_Stream0_IRQn interrupt configuration */
  HAL_NVIC_SetPriority(DMA2_Stream0_IRQn, 0, 0);
  HAL_NVIC_EnableIRQ(DMA2_Stream0_IRQn);
  /* DMA2_Stream3_IRQn interrupt configuration */
  HAL_NVIC_SetPriority(DMA2_Stream3_IRQn, 0, 0);
  HAL_NVIC_EnableIRQ(DMA2_Stream3_IRQn);
  /* DMA2_Stream5_IRQn interrupt configuration */
  HAL_NVIC_SetPriority(DMA2_Stream5_IRQn, 0, 0);
  HAL_NVIC_EnableIRQ(DMA2_Stream5_IRQn);
  /* DMA2_Stream7_IRQn interrupt configuration */
  HAL_NVIC_SetPriority(DMA2_Stream7_IRQn, 0, 0);
  HAL_NVIC_EnableIRQ(DMA2_Stream7_IRQn);

}

static void MX_GPIO_Init(void)
{
  GPIO_InitTypeDef GPIO_InitStruct = {0};

  /* GPIO Ports Clock Enable */
  __HAL_RCC_GPIOC_CLK_ENABLE();
  __HAL_RCC_GPIOH_CLK_ENABLE();
  __HAL_RCC_GPIOA_CLK_ENABLE();
  __HAL_RCC_GPIOB_CLK_ENABLE();
  __HAL_RCC_GPIOD_CLK_ENABLE();

  /*Configure GPIO pin Output Level */
  HAL_GPIO_WritePin(LED_Onboard_GPIO_Port, LED_Onboard_Pin, GPIO_PIN_RESET);

  /*Configure GPIO pin : LED_Onboard_Pin */
  GPIO_InitStruct.Pin = LED_Onboard_Pin;
  GPIO_InitStruct.Mode = GPIO_MODE_OUTPUT_PP;
  GPIO_InitStruct.Pull = GPIO_PULLDOWN;
  GPIO_InitStruct.Speed = GPIO_SPEED_FREQ_LOW;
  HAL_GPIO_Init(LED_Onboard_GPIO_Port, &GPIO_InitStruct);

}

void Error_Handler(void)
{
  /* USER CODE BEGIN Error_Handler_Debug */
  /* User can add his own implementation to report the HAL error return state */
  __disable_irq();
/*  while (1)
  {
  }*/
  /* USER CODE END Error_Handler_Debug */
}
